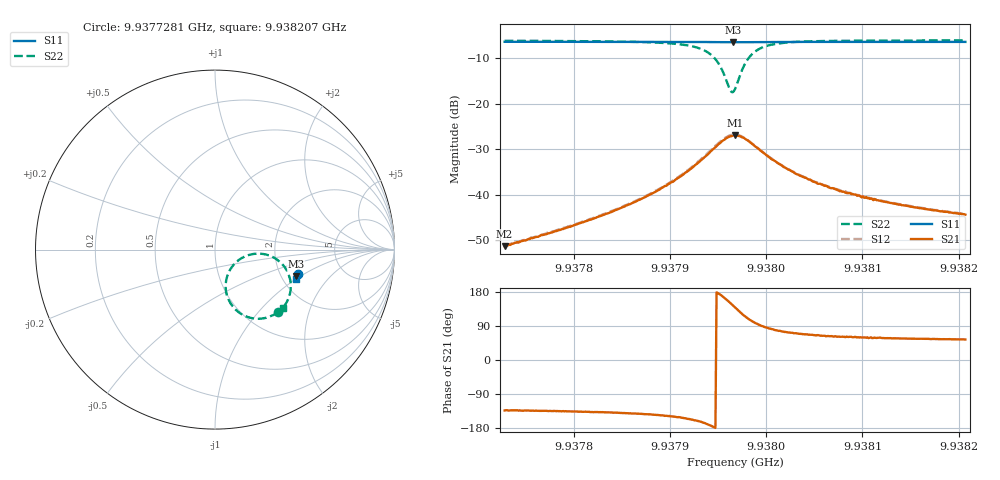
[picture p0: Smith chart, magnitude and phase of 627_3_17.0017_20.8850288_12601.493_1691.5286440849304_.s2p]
#  HZ  S  RI  R  50.00
! Rohde & Schwarz Vector Network Analyzer
! Rohde-Schwarz,ZNB20-2Port,1311601062101988,3.16
! Created: UTC 3/20/2024, 11:20:11 PM
! freq[Hz]  re:S11  im:S11  re:S21  im:S21  re:S12  im:S12  re:S22  im:S22
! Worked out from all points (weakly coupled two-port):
!   401 points, 9.9377281 GHz to 9.938207 GHz, reference 50 ohm
!   highest |S21| = -26.95 dB at 9.9379675 GHz (marker M1); lowest = -51.3 dB at 9.9377281 GHz (marker M2)
!   lowest |S11| = -6.5 dB at 9.9379651 GHz (marker M3), VSWR 2.81, Z = 120 - j46.2 ohm
!   |S11| at or under -10 dB: nowhere
!   |S22| runs from -17.4 to -6.1 dB; largest |S21 - S12| = 0.0022
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9.93772805e9  0.4621 -0.1365  -0.00186 -0.00198  -0.00189 -0.00203  0.3487 -0.3497
9.93780827e9  0.4599 -0.1417  -0.00359 -0.00341  -0.0037 -0.00341  0.3294 -0.3621
9.93785017e9  0.4586 -0.1449  -0.00555 -0.00468  -0.00566 -0.00469  0.3098 -0.3714
9.93788848e9  0.4573 -0.1476  -0.00932 -0.00644  -0.00964 -0.00641  0.2748 -0.3819
9.93792081e9  0.4557 -0.1499  -0.0175 -0.00769  -0.018 -0.00748  0.2065 -0.382
9.93793997e9  0.4538 -0.1512  -0.0279 -0.00459  -0.029 -0.00415  0.1235 -0.3421
9.93794595e9  0.453 -0.1513  -0.0325 -0.0013  -0.0335 -0.000472  0.092 -0.3074
9.93795074e9  0.4523 -0.1512  -0.0361 0.00325  -0.0371 0.00445  0.0701 -0.2655
9.93795553e9  0.4518 -0.1509  -0.0387 0.00963  -0.0395 0.011  0.0595 -0.2096
9.93796152e9  0.4513 -0.1499  -0.0387 0.0197  -0.0391 0.0215  0.0759 -0.1283
9.93796511e9  0.4514 -0.1494  -0.0364 0.0258  -0.0362 0.0279  0.1058 -0.0827
9.9379675e9  0.4517 -0.149  -0.0338 0.0296  -0.0334 0.0316  0.1333 -0.0575
9.93797349e9  0.4524 -0.1485  -0.0247 0.036  -0.0238 0.0374  0.2156 -0.0242
9.93797948e9  0.4533 -0.1483  -0.0153 0.0373  -0.014 0.0384  0.293 -0.0299
9.93798546e9  0.4541 -0.1488  -0.00763 0.0354  -0.00635 0.0359  0.349 -0.0582
9.93799145e9  0.4547 -0.1494  -0.00233 0.0321  -0.00124 0.0325  0.3843 -0.0925
9.93800222e9  0.4551 -0.1508  0.00278 0.0261  0.00343 0.0261  0.4136 -0.1479
9.93801539e9  0.4551 -0.152  0.00518 0.0206  0.00562 0.0205  0.4222 -0.1957
9.93804772e9  0.4544 -0.1552  0.00562 0.013  0.00595 0.0129  0.4145 -0.257
9.93808124e9  0.4537 -0.1578  0.00519 0.00936  0.0055 0.00944  0.403 -0.2856
9.93812793e9  0.4524 -0.161  0.00439 0.00692  0.00457 0.00689  0.3911 -0.3064
9.93820695e9  0.4501 -0.1663  0.00354 0.0049  0.00369 0.00489  0.3777 -0.3244
